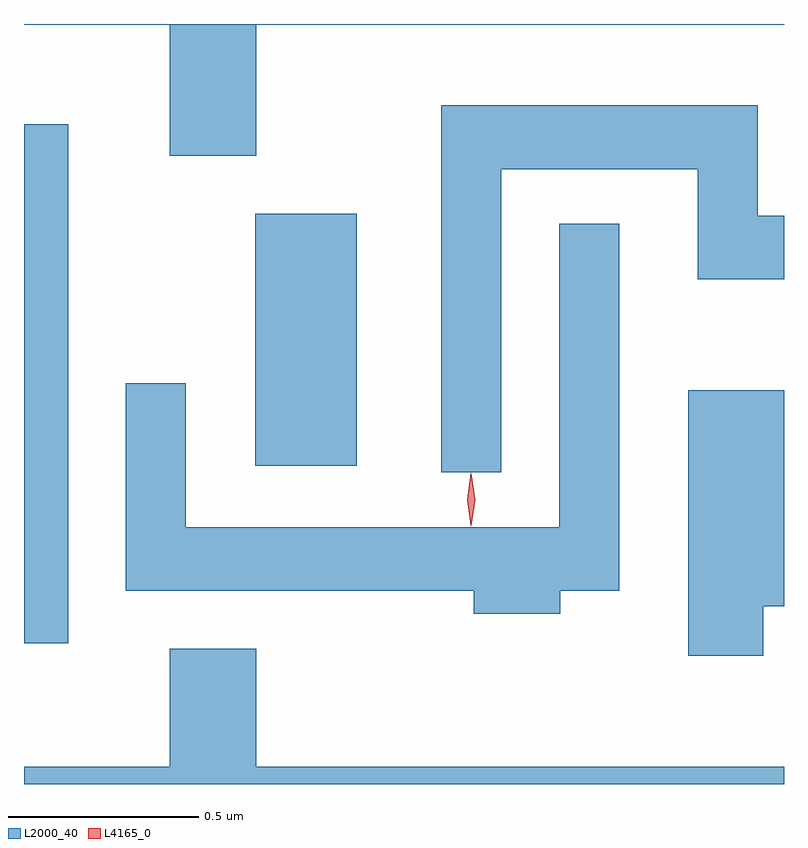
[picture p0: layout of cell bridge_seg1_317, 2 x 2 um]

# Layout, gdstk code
import gdstk
lib = gdstk.Library(unit=1e-6, precision=1e-09)
def R(c, l, rs):  # rectangles x0, y0, x1, y1
    for r in rs: c.add(gdstk.rectangle(r[:2], r[2:], *l))
def P(c, l, *ps):  # polygons
    for p in ps: c.add(gdstk.Polygon(p, *l))
L2000_40 = (2000, 40)
L4165_0 = (4165, 0)

bridge_seg1_317 = lib.new_cell('bridge_seg1_317')
R(bridge_seg1_317, L2000_40, [(887.688,873.528,887.804,874.894), (888.296,873.996,888.564,874.659)])
P(bridge_seg1_317, L2000_40, [(887.688,875.156),(888.071,875.156),(888.071,874.811),(888.299,874.811),(888.299,875.156),(889.688,875.156),(889.688,875.158),(887.688,875.158)],
  [(888.944,874.776),(889.461,874.776),(889.461,874.486),(889.688,874.486),(889.688,874.654),(889.619,874.654),(889.619,874.944),(888.786,874.944),(888.786,873.978),(888.944,873.978)],
  [(889.099,873.666),(889.254,873.666),(889.254,874.633),(889.096,874.633),(889.096,873.834),(888.114,873.834),(888.114,874.213),(887.956,874.213),(887.956,873.666),(888.871,873.666),(888.871,873.606),(889.099,873.606)],
  [(889.634,873.626),(889.688,873.626),(889.688,874.194),(889.436,874.194),(889.436,873.496),(889.634,873.496)],
  [(889.688,873.204),(888.299,873.204),(888.299,873.514),(888.071,873.514),(888.071,873.204),(887.688,873.204),(887.688,873.158),(889.688,873.158)])
P(bridge_seg1_317, L4165_0, [(888.864,873.837),(888.855,873.906),(888.864,873.976),(888.865,873.976),(888.865,873.976),(888.875,873.906),(888.865,873.837),(888.865,873.837)],
  [(888.864,873.839),(888.864,873.84),(888.854,873.906),(888.864,873.972),(888.864,873.973),(888.865,873.972),(888.874,873.906),(888.865,873.84)])

lib.write_gds('bridge_seg1_317.gds')
